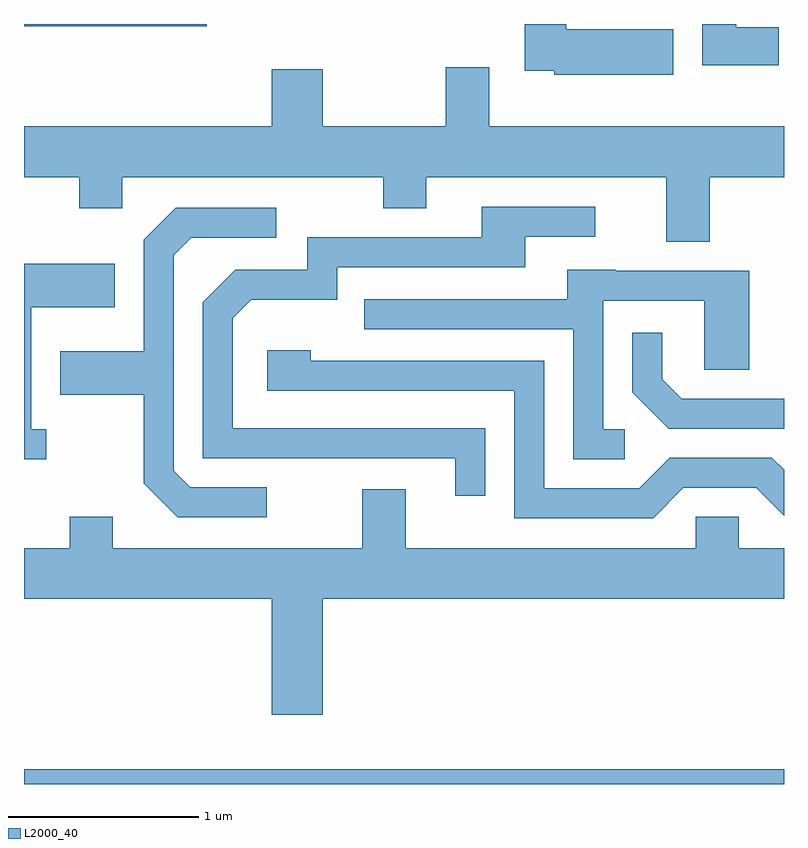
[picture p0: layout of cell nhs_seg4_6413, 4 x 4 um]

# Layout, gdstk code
import gdstk
lib = gdstk.Library(unit=1e-6, precision=1e-09)
def R(c, l, rs):  # rectangles x0, y0, x1, y1
    for r in rs: c.add(gdstk.rectangle(r[:2], r[2:], *l))
def P(c, l, *ps):  # polygons
    for p in ps: c.add(gdstk.Polygon(p, *l))
L2000_40 = (2000, 40)

nhs_seg4_6413 = lib.new_cell('nhs_seg4_6413')
R(nhs_seg4_6413, L2000_40, [(373.611,1295.982,377.611,1296.059), (373.611,1299.971,374.574,1299.982)])
P(nhs_seg4_6413, L2000_40, [(377.029,1299.954),(376.464,1299.954),(376.464,1299.982),(376.246,1299.982),(376.246,1299.736),(376.401,1299.736),(376.401,1299.716),(377.029,1299.716)],
  [(377.584,1299.964),(377.359,1299.964),(377.359,1299.982),(377.181,1299.982),(377.181,1299.766),(377.584,1299.766)],
  [(377.219,1299.176),(377.611,1299.176),(377.611,1299.444),(376.059,1299.444),(376.059,1299.754),(375.831,1299.754),(375.831,1299.444),(375.184,1299.444),(375.184,1299.744),(374.916,1299.744),(374.916,1299.444),(373.611,1299.444),(373.611,1299.176),(373.901,1299.176),(373.901,1299.011),(374.129,1299.011),(374.129,1299.176),(375.501,1299.176),(375.501,1299.011),(375.729,1299.011),(375.729,1299.176),(376.991,1299.176),(376.991,1298.836),(377.219,1298.836)],
  [(376.039,1297.854),(374.709,1297.854),(374.709,1298.434),(374.807,1298.531),(375.259,1298.531),(375.259,1298.701),(376.249,1298.701),(376.249,1298.861),(376.618,1298.861),(376.618,1299.019),(376.021,1299.019),(376.021,1298.859),(375.101,1298.859),(375.101,1298.689),(374.724,1298.689),(374.551,1298.517),(374.551,1297.696),(375.881,1297.696),(375.881,1297.498),(376.039,1297.498)],
  [(374.888,1297.544),(374.487,1297.544),(374.399,1297.632),(374.399,1298.764),(374.492,1298.856),(374.938,1298.856),(374.938,1299.014),(374.409,1299.014),(374.241,1298.847),(374.241,1298.259),(373.801,1298.259),(373.801,1298.031),(374.241,1298.031),(374.241,1297.564),(374.419,1297.386),(374.888,1297.386)],
  [(373.728,1297.849),(373.649,1297.849),(373.649,1298.491),(374.089,1298.491),(374.089,1298.719),(373.611,1298.719),(373.611,1297.691),(373.728,1297.691)],
  [(376.773,1297.849),(376.659,1297.849),(376.659,1298.526),(377.191,1298.526),(377.191,1298.161),(377.429,1298.161),(377.429,1298.684),(376.725,1298.684),(376.725,1298.689),(376.471,1298.689),(376.471,1298.534),(375.403,1298.534),(375.403,1298.376),(376.501,1298.376),(376.501,1297.691),(376.773,1297.691)],
  [(377.611,1298.009),(377.072,1298.009),(376.969,1298.112),(376.969,1298.358),(376.811,1298.358),(376.811,1298.044),(377.004,1297.851),(377.611,1297.851)],
  [(377.082,1297.541),(377.464,1297.541),(377.611,1297.394),(377.611,1297.635),(377.547,1297.699),(377.009,1297.699),(376.849,1297.539),(376.349,1297.539),(376.349,1298.209),(375.119,1298.209),(375.119,1298.264),(374.891,1298.264),(374.891,1298.051),(376.191,1298.051),(376.191,1297.381),(376.922,1297.381)],
  [(375.184,1296.956),(377.611,1296.956),(377.611,1297.224),(377.374,1297.224),(377.374,1297.389),(377.146,1297.389),(377.146,1297.224),(375.619,1297.224),(375.619,1297.534),(375.391,1297.534),(375.391,1297.224),(374.079,1297.224),(374.079,1297.389),(373.851,1297.389),(373.851,1297.224),(373.611,1297.224),(373.611,1296.956),(374.916,1296.956),(374.916,1296.346),(375.184,1296.346)])

lib.write_gds('nhs_seg4_6413.gds')
